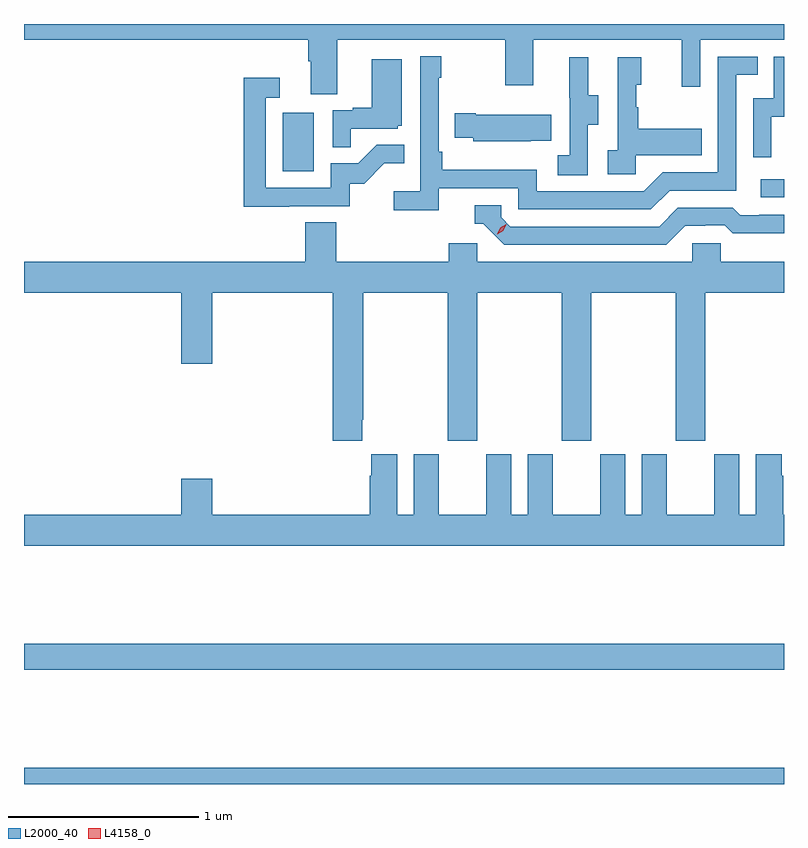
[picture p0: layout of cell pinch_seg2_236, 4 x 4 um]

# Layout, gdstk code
import gdstk
lib = gdstk.Library(unit=1e-6, precision=1e-09)
def R(c, l, rs):  # rectangles x0, y0, x1, y1
    for r in rs: c.add(gdstk.rectangle(r[:2], r[2:], *l))
def P(c, l, *ps):  # polygons
    for p in ps: c.add(gdstk.Polygon(p, *l))
L2000_40 = (2000, 40)
L4158_0 = (4158, 0)

pinch_seg2_236 = lib.new_cell('pinch_seg2_236')
R(pinch_seg2_236, L2000_40, [(919.424,647.715,923.424,647.8), (919.424,648.316,923.424,648.452), (923.301,650.802,923.424,650.898), (920.786,650.94,920.95,651.247)])
P(pinch_seg2_236, L2000_40, [(921.073,651.632),(921.958,651.632),(921.958,651.393),(922.105,651.393),(922.105,651.632),(922.886,651.632),(922.886,651.384),(922.983,651.384),(922.983,651.632),(923.424,651.632),(923.424,651.715),(919.424,651.715),(919.424,651.632),(920.921,651.632),(920.921,651.52),(920.933,651.52),(920.933,651.346),(921.073,651.346)],
  [(921.608,650.85),(922.026,650.85),(922.026,650.739),(922.723,650.739),(922.822,650.838),(923.172,650.838),(923.172,651.447),(923.285,651.447),(923.285,651.543),(923.076,651.543),(923.076,650.934),(922.785,650.934),(922.686,650.835),(922.122,650.835),(922.122,650.947),(921.626,650.947),(921.626,651.043),(921.606,651.043),(921.606,651.431),(921.619,651.431),(921.619,651.544),(921.51,651.544),(921.51,650.836),(921.369,650.836),(921.369,650.734),(921.608,650.734)],
  [(923.358,651.227),(923.424,651.227),(923.424,651.543),(923.37,651.543),(923.37,651.324),(923.262,651.324),(923.262,651.015),(923.358,651.015)],
  [(922.644,651.023),(922.991,651.023),(922.991,651.163),(922.657,651.163),(922.657,651.278),(922.647,651.278),(922.647,651.396),(922.672,651.396),(922.672,651.541),(922.548,651.541),(922.548,651.05),(922.497,651.05),(922.497,650.925),(922.644,650.925)],
  [(922.392,651.184),(922.447,651.184),(922.447,651.339),(922.393,651.339),(922.393,651.541),(922.295,651.541),(922.295,651.327),(922.296,651.327),(922.296,651.023),(922.233,651.023),(922.233,650.92),(922.392,650.92)],
  [(921.143,651.165),(921.39,651.165),(921.39,651.18),(921.412,651.18),(921.412,651.529),(921.254,651.529),(921.254,651.274),(921.155,651.274),(921.155,651.261),(921.048,651.261),(921.048,651.067),(921.143,651.067)],
  [(920.819,650.757),(921.138,650.757),(921.138,650.874),(921.214,650.874),(921.321,650.981),(921.425,650.981),(921.425,651.08),(921.281,651.08),(921.183,650.982),(921.039,650.982),(921.039,650.853),(920.697,650.853),(920.697,651.327),(920.77,651.327),(920.77,651.433),(920.581,651.433),(920.581,650.752),(920.819,650.752)],
  [(922.091,651.101),(922.199,651.101),(922.199,651.238),(921.802,651.238),(921.802,651.246),(921.691,651.246),(921.691,651.116),(921.789,651.116),(921.789,651.098),(922.091,651.098)],
  [(922.903,650.652),(923.01,650.652),(923.01,650.655),(923.113,650.655),(923.155,650.613),(923.388,650.613),(923.388,650.615),(923.424,650.615),(923.424,650.712),(923.293,650.712),(923.293,650.709),(923.194,650.709),(923.155,650.748),(922.866,650.748),(922.767,650.649),(921.984,650.649),(921.936,650.697),(921.936,650.76),(921.797,650.76),(921.797,650.664),(921.84,650.664),(921.951,650.553),(922.804,650.553)],
  [(921.205,649.633),(921.21,649.633),(921.21,650.3),(921.655,650.3),(921.655,649.521),(921.81,649.521),(921.81,650.3),(922.255,650.3),(922.255,649.521),(922.41,649.521),(922.41,650.3),(922.855,650.3),(922.855,649.521),(923.01,649.521),(923.01,650.3),(923.424,650.3),(923.424,650.464),(923.091,650.464),(923.091,650.562),(922.941,650.562),(922.941,650.464),(921.81,650.464),(921.81,650.562),(921.659,650.562),(921.659,650.464),(921.068,650.464),(921.068,650.672),(920.903,650.672),(920.903,650.464),(919.424,650.464),(919.424,650.3),(920.252,650.3),(920.252,649.926),(920.416,649.926),(920.416,650.3),(921.05,650.3),(921.05,649.521),(921.205,649.521)],
  [(923.424,649.132),(923.42,649.132),(923.42,649.337),(923.413,649.337),(923.413,649.45),(923.276,649.45),(923.276,649.132),(923.188,649.132),(923.188,649.45),(923.057,649.45),(923.057,649.132),(922.807,649.132),(922.807,649.45),(922.676,649.45),(922.676,649.132),(922.588,649.132),(922.588,649.45),(922.457,649.45),(922.457,649.132),(922.207,649.132),(922.207,649.45),(922.076,649.45),(922.076,649.132),(921.988,649.132),(921.988,649.45),(921.857,649.45),(921.857,649.132),(921.607,649.132),(921.607,649.45),(921.476,649.45),(921.476,649.132),(921.388,649.132),(921.388,649.45),(921.251,649.45),(921.251,649.337),(921.245,649.337),(921.245,649.132),(920.416,649.132),(920.416,649.321),(920.252,649.321),(920.252,649.132),(919.424,649.132),(919.424,648.968),(923.424,648.968)])
P(pinch_seg2_236, L4158_0, [(921.916,650.609),(921.916,650.609),(921.931,650.642),(921.961,650.661),(921.962,650.661),(921.962,650.661),(921.946,650.628),(921.916,650.609)])

lib.write_gds('pinch_seg2_236.gds')
